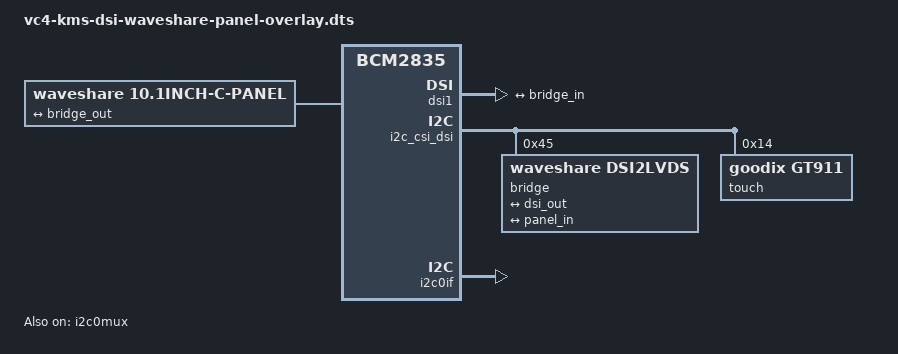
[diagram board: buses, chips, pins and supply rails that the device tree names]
/*
 * Device Tree overlay for Waveshare DSI Touchscreens
 *
 */

/dts-v1/;
/plugin/;

/ {
	compatible = "brcm,bcm2835";

	dsi_frag: fragment@0 {
		target = <&dsi1>;
		__overlay__ {
			#address-cells = <1>;
			#size-cells = <0>;
			status = "okay";
			port {
				dsi_out: endpoint {
					remote-endpoint = <&bridge_in>;
				};
			};
		};
	};

	fragment@1 {
		target-path = "/";
		__overlay__ {
			panel: ws_dsi_panel@1 {
				reg = <1>;
				compatible = "waveshare,10.1inch-c-panel";

				port {
					panel_in: endpoint {
						remote-endpoint = <&bridge_out>;
					};
				};
			};
		};
	};

	i2c_frag: fragment@2 {
		target = <&i2c_csi_dsi>;
		__overlay__ {
			#address-cells = <1>;
			#size-cells = <0>;
			status = "okay";

			bridge: bridge@45 {
				reg = <0x45>;
				compatible = "waveshare,dsi2lvds";

				ports {
					#address-cells = <1>;
					#size-cells = <0>;

					port@0 {
						reg = <0>;
						bridge_in: endpoint {
							remote-endpoint = <&dsi_out>;
							data-lanes = <1 2>;
						};
					};

					port@1 {
						reg = <1>;
						bridge_out: endpoint {
							remote-endpoint = <&panel_in>;
						};
					};
				};
			};

			/* Panels that need the downstream Waveshare panel driver */
			legacy_panel: panel_disp1@45 {
				reg = <0x45>;
				compatible = "waveshare,10.1inch-e-2lane-panel";
				status = "disabled";

				port {
					legacy_in: endpoint {
						remote-endpoint = <&dsi_out>;
					};
				};
			};

			touch: goodix@14 {
				reg = <0x14>;
				compatible = "goodix,gt911";
			};

			touch2: ilitek@41 {
				compatible = "ilitek,ili251x";
				reg = <0x41>;
				status = "disabled";
			};
		};
	};

	fragment@3 {
		target = <&i2c0if>;
		__overlay__ {
			status = "okay";
		};
	};

	fragment@4 {
		target = <&i2c0mux>;
		__overlay__ {
			status = "okay";
		};
	};

	fragment@5 {
		target = <&i2c_arm>;
		__dormant__ {
			status = "okay";
		};
	};

	fragment@6 {
		target = <&bridge_in>;
		__dormant__ {
			data-lanes = <1 2 3 4>;
		};
	};

	__overrides__ {
		2_8_inch = <&panel>, "compatible=waveshare,2.8inch-panel",
				   <&bridge>, "compatible=waveshare,dsi2dpi",
				   <&touch>, "touchscreen-size-x:0=480",
				   <&touch>, "touchscreen-size-y:0=640",
				   <&touch>, "touchscreen-inverted-y?",
				   <&touch>, "touchscreen-swapped-x-y?";
		3_4_inch = <&panel>, "compatible=waveshare,3.4inch-c-panel",
				   <&touch>, "touchscreen-size-x:0=800",
				   <&touch>, "touchscreen-size-y:0=800";
		4_0_inch = <&panel>, "compatible=waveshare,4.0inch-panel",
				   <&bridge>, "compatible=waveshare,dsi2dpi",
				   <&touch>, "touchscreen-size-x:0=800",
				   <&touch>, "touchscreen-size-y:0=480",
				   <&touch>, "touchscreen-inverted-x?",
				   <&touch>, "touchscreen-swapped-x-y?";
		7_0_inchC = <&panel>, "compatible=waveshare,7.0inch-c-panel",
				   <&bridge>, "compatible=waveshare,dsi2dpi",
				   <&touch>, "touchscreen-size-x:0=800",
				   <&touch>, "touchscreen-size-y:0=480";
		7_9_inch = <&panel>, "compatible=waveshare,7.9inch-panel",
				   <&touch>, "touchscreen-size-x:0=4096",
				   <&touch>, "touchscreen-size-y:0=4096",
				   <&touch>, "touchscreen-inverted-x?",
				   <&touch>, "touchscreen-swapped-x-y?";
		8_0_inch = <&panel>, "compatible=waveshare,8.0inch-c-panel",
				   <&touch>, "touchscreen-size-x:0=800",
				   <&touch>, "touchscreen-size-y:0=1280",
				   <&touch>, "touchscreen-inverted-x?",
				   <&touch>, "touchscreen-swapped-x-y?";
		10_1_inch = <&panel>, "compatible=waveshare,10.1inch-c-panel",
				   <&touch>, "touchscreen-size-x:0=800",
				   <&touch>, "touchscreen-size-y:0=1280",
				   <&touch>, "touchscreen-inverted-x?",
				   <&touch>, "touchscreen-swapped-x-y?";
		11_9_inch = <&panel>, "compatible=waveshare,11.9inch-panel",
				   <&touch>, "touchscreen-inverted-x?",
				   <&touch>, "touchscreen-swapped-x-y?";
		4_0_inchC = <&panel>, "compatible=waveshare,4.0inch-c-panel",
				   <&touch>, "touchscreen-size-x:0=720",
				   <&touch>, "touchscreen-size-y:0=720";
		5_0_inch = <&panel>, "compatible=waveshare,5.0inch-d-panel",
				   <&touch>, "touchscreen-inverted-x?",
				   <&touch>, "touchscreen-inverted-y?";
		6_25_inch = <&panel>, "compatible=waveshare,6.25inch-panel",
				   <&touch>, "touchscreen-inverted-x?",
				   <&touch>, "touchscreen-inverted-y?";
		6_25_inchB = <&legacy_panel>, "compatible=waveshare,6.25inch-b-panel",
				   <&legacy_panel>, "status=okay",
				   <&bridge>, "status=disabled",
				   <&panel>, "status=disabled",
				   <&dsi_out>, "remote-endpoint:0=", <&legacy_in>,
				   <&touch>, "touchscreen-inverted-x?",
				   <&touch>, "touchscreen-inverted-y?";
		8_8_inch = <&panel>, "compatible=waveshare,8.8inch-panel";
		13_3_inch_4lane = <&panel>, "compatible=waveshare,13.3inch-panel",
				  <&bridge>, "compatible=waveshare,dsi2dpi",
				  <0>, "+6",
				  <&touch2>, "status=okay";
		13_3_inch_2lane = <&legacy_panel>, "compatible=waveshare,13.3inch-2lane-panel",
				  <&legacy_panel>, "status=okay",
				  <&bridge>, "status=disabled",
				  <&panel>, "status=disabled",
				  <&dsi_out>, "remote-endpoint:0=", <&legacy_in>,
				  <&touch2>, "status=okay";
		7_0_inchH = <&panel>, "compatible=waveshare,7.0inch-h-panel",
				  <&touch>, "touchscreen-swapped-x-y?",
				  <&touch>, "touchscreen-inverted-x?";
		10_1_inchE_4lane = <&legacy_panel>, "compatible=waveshare,10.1inch-e-4lane-panel",
				  <&legacy_panel>, "status=okay",
				  <&bridge>, "status=disabled",
				  <&panel>, "status=disabled",
				  <&dsi_out>, "remote-endpoint:0=", <&legacy_in>,
				  <&touch>, "touchscreen-swapped-x-y?",
				  <&touch>, "touchscreen-inverted-x?";
		10_1_inchE_2lane = <&legacy_panel>, "compatible=waveshare,10.1inch-e-2lane-panel",
				  <&legacy_panel>, "status=okay",
				  <&bridge>, "status=disabled",
				  <&panel>, "status=disabled",
				  <&dsi_out>, "remote-endpoint:0=", <&legacy_in>,
				  <&touch>, "touchscreen-swapped-x-y?",
				  <&touch>, "touchscreen-inverted-x?";
		i2c1 = <&i2c_frag>, "target:0=",<&i2c1>,
		       <0>, "-3-4+5";
		disable_touch = <&touch>, "status=disabled";
		rotation = <&panel>, "rotation:0",
			   <&legacy_panel>, "rotation:0";
		invx = <&touch>,"touchscreen-inverted-x?";
		invy = <&touch>,"touchscreen-inverted-y?";
		swapxy = <&touch>,"touchscreen-swapped-x-y?";
		dsi0 = <&dsi_frag>, "target:0=",<&dsi0>,
		       <&i2c_frag>, "target:0=",<&i2c_csi_dsi0>,
		       <&panel>, "reg:0=0";
	};
};
